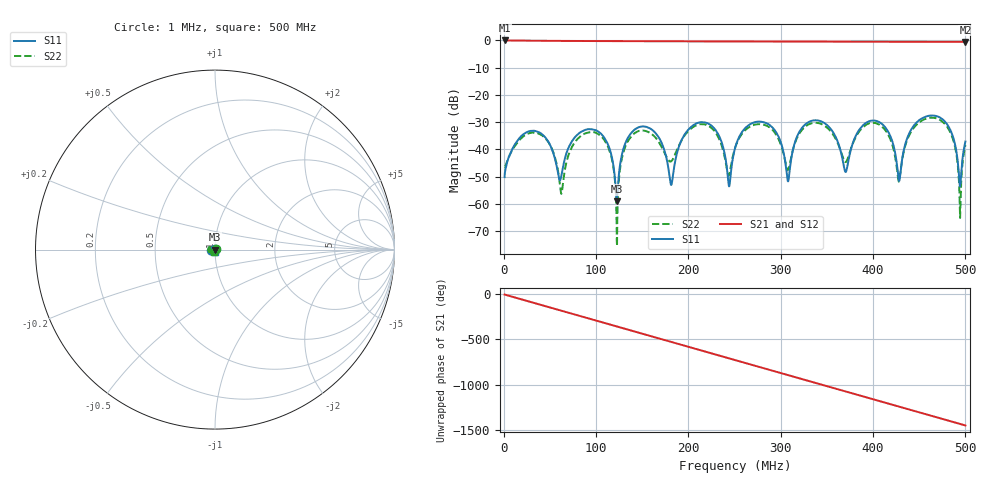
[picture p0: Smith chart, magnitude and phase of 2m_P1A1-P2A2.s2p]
! MS46122B
! 1746301/73750021
! 11/1/2023 4:07:01 PM
! C:\USERS\SPEGWAL\DOWNLOADS\SAURABH\REACH\NODES\FRONT END\MEASUREMENTS\MEASURED S-PARAMETERS_01-11-2023\CABLES\2M_P1A1-P2A2.S2P
! CHANNEL.1
! TR.MEASUREMENT
! CORRECTED.DATA
# GHZ S RI R 50.0
! FREQ.GHZ  S11RE  S11IM  S21RE  S21IM  S12RE  S12IM  S22RE  S22IM
!; PortSelection: Port_12
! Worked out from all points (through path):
!   2001 points, 1 MHz to 500 MHz, reference 50 ohm
!   highest |S21| = -0.02 dB at 1.25 MHz (marker M1); lowest = -0.5 dB at 500 MHz (marker M2)
!   group delay of S21, straight-line fit = 8.05 ns
!   lowest |S11| = -59.1 dB at 122.5 MHz (marker M3), VSWR 1.00, Z = 50.1 + j0.0294 ohm
!   |S11| at or under -10 dB: start of sweep to end of sweep
!   |S22| runs from -75.6 to -28.4 dB; largest |S21 - S12| = 0.0049
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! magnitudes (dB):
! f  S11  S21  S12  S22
! 1 MHz  -50.2  0.0  0.0  -46.4
! 1.25 MHz  -48.7  0.0  0.0  -46.4
! 37.43 MHz  -33.6  -0.1  -0.2  -34.2
! 62.63 MHz  -49.5  -0.2  -0.2  -56.3
! 84.33 MHz  -33.5  -0.2  -0.2  -34.9
! 110.8 MHz  -36.7  -0.2  -0.3  -37.5
! 122.5 MHz  -59.1  -0.3  -0.3  -73.8
! 136.7 MHz  -34.6  -0.3  -0.3  -35.9
! 167.4 MHz  -35.3  -0.3  -0.3  -37.0
! 181.4 MHz  -53.1  -0.3  -0.3  -44.4
! 208.3 MHz  -30.5  -0.3  -0.4  -31.2
! 250.5 MHz  -39.6  -0.4  -0.4  -39.6
! 284.9 MHz  -30.4  -0.4  -0.4  -31.4
! 308.1 MHz  -51.7  -0.4  -0.4  -47.5
! 333.8 MHz  -29.5  -0.4  -0.5  -30.4
! 370.3 MHz  -48.3  -0.5  -0.5  -44.7
! 416.9 MHz  -33.9  -0.5  -0.5  -35.0
! 428.1 MHz  -51.5  -0.5  -0.5  -51.8
! 456.3 MHz  -28.1  -0.5  -0.5  -28.9
! 482.3 MHz  -31.9  -0.5  -0.5  -32.8
! 494 MHz  -53.7  -0.5  -0.5  -62.4
! 500 MHz  -37.1  -0.5  -0.5  -38.4
